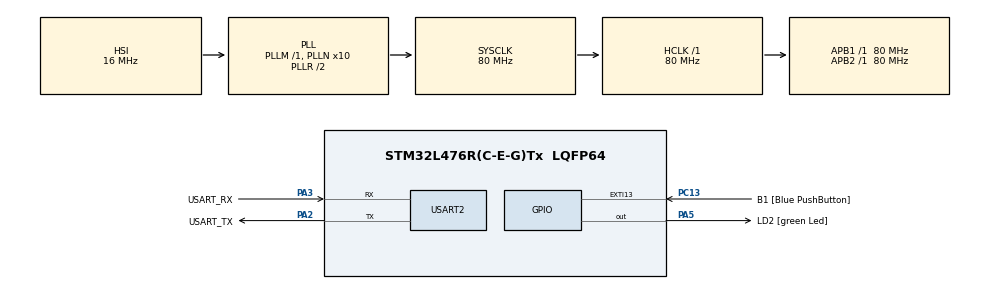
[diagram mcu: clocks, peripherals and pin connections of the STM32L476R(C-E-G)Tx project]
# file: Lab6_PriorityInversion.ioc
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FREERTOS.BinarySemaphores01=myBinarySem01,Dynamic,NULL,Available
FREERTOS.Mutexes01=myMutex01,Dynamic,NULL,Available
FREERTOS.Tasks01=defaultTask,24,128,StartDefaultTask,Default,NULL,Dynamic,NULL,NULL;lowPriorityTask,8,128,StartTask02,Default,NULL,Dynamic,NULL,NULL;medPriorityTask,24,128,StartTask03,Default,NULL,Dynamic,NULL,NULL;highPriorityTas,40,128,StartTask04,Default,NULL,Dynamic,NULL,NULL
FREERTOS.configTOTAL_HEAP_SIZE=65536
FREERTOS.configUSE_NEWLIB_REENTRANT=1
Mcu.Family=STM32L4
Mcu.Name=STM32L476R(C-E-G)Tx
Mcu.Package=LQFP64
NVIC.PriorityGroup=NVIC_PRIORITYGROUP_4
NVIC.TIM6_DAC_IRQn=true\:15\:0\:false\:false\:true\:false\:false\:true\:true
NVIC.TimeBase=TIM6_DAC_IRQn
NVIC.TimeBaseIP=TIM6
PA13\ (JTMS-SWDIO).GPIO_Label=TMS
PA13\ (JTMS-SWDIO).Mode=Serial_Wire
PA13\ (JTMS-SWDIO).Signal=SYS_JTMS-SWDIO
PA14\ (JTCK-SWCLK).GPIO_Label=TCK
PA14\ (JTCK-SWCLK).Mode=Serial_Wire
PA14\ (JTCK-SWCLK).Signal=SYS_JTCK-SWCLK
PA2.GPIO_Label=USART_TX
PA2.GPIO_Mode=GPIO_MODE_AF_PP
PA2.GPIO_PuPd=GPIO_NOPULL
PA2.GPIO_Speed=GPIO_SPEED_FREQ_VERY_HIGH
PA2.Mode=Asynchronous
PA2.Signal=USART2_TX
PA3.GPIO_Label=USART_RX
PA3.GPIO_Mode=GPIO_MODE_AF_PP
PA3.GPIO_PuPd=GPIO_NOPULL
PA3.GPIO_Speed=GPIO_SPEED_FREQ_VERY_HIGH
PA3.Mode=Asynchronous
PA3.Signal=USART2_RX
PA5.GPIO_Label=LD2 [green Led]
PA5.GPIO_ModeDefaultOutputPP=GPIO_MODE_OUTPUT_PP
PA5.GPIO_PuPd=GPIO_NOPULL
PA5.GPIO_Speed=GPIO_SPEED_FREQ_LOW
PA5.Signal=GPIO_Output
PB3\ (JTDO-TRACESWO).GPIO_Label=SWO
PB3\ (JTDO-TRACESWO).Signal=SYS_JTDO-SWO
PC13.GPIO_Label=B1 [Blue PushButton]
PC13.GPIO_ModeDefaultEXTI=GPIO_MODE_IT_FALLING
PC13.GPIO_PuPd=GPIO_NOPULL
PC13.Signal=GPXTI13
PC14-OSC32_IN\ (PC14).Mode=LSE-External-Oscillator
PC14-OSC32_IN\ (PC14).Signal=RCC_OSC32_IN
PC15-OSC32_OUT\ (PC15).Mode=LSE-External-Oscillator
PC15-OSC32_OUT\ (PC15).Signal=RCC_OSC32_OUT
PH0-OSC_IN\ (PH0).Signal=RCC_OSC_IN
PH1-OSC_OUT\ (PH1).Signal=RCC_OSC_OUT
ProjectManager.HeapSize=0x200
ProjectManager.StackSize=0x400
ProjectManager.TargetToolchain=STM32CubeIDE
RCC.ADCFreq_Value=64000000
RCC.AHBFreq_Value=80000000
RCC.APB1Freq_Value=80000000
RCC.APB1TimFreq_Value=80000000
RCC.APB2Freq_Value=80000000
RCC.APB2TimFreq_Value=80000000
RCC.CortexFreq_Value=80000000
RCC.HCLKFreq_Value=80000000
RCC.HSE_VALUE=8000000
RCC.HSI_VALUE=16000000
RCC.MSI_VALUE=4000000
RCC.PLLN=10
RCC.PLLSourceVirtual=RCC_PLLSOURCE_HSI
RCC.PREFETCH_ENABLE=1
RCC.SYSCLKFreq_VALUE=80000000
RCC.SYSCLKSource=RCC_SYSCLKSOURCE_PLLCLK
RCC.USBFreq_Value=64000000
RCC.VCOOutputFreq_Value=160000000
USART2.VirtualMode-Asynchronous=VM_ASYNC
VP_FREERTOS_VS_CMSIS_V2.Mode=CMSIS_V2
VP_SYS_VS_tim6.Mode=TIM6
board=NUCLEO-L476RG

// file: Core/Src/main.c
/* USER CODE BEGIN Header */
/**
  ******************************************************************************
  * @file           : main.c
  * @brief          : Main program body
  ******************************************************************************
  * @attention
  *
  * Copyright (c) 2026 STMicroelectronics.
  * All rights reserved.
  *
  * This software is licensed under terms that can be found in the LICENSE file
  * in the root directory of this software component.
  * If no LICENSE file comes with this software, it is provided AS-IS.
  *
  ******************************************************************************
  */
/* USER CODE END Header */
#include "main.h"
#include "cmsis_os.h"

UART_HandleTypeDef huart2;

/* Definitions for defaultTask */
osThreadId_t defaultTaskHandle;
//const osThreadAttr_t defaultTask_attributes = {
//  .name = "defaultTask",
//  .stack_size = 128 * 4,
//  .priority = (osPriority_t) osPriorityNormal,
//};
///* Definitions for lowPriorityTask */
//osThreadId_t lowPriorityTaskHandle;
//const osThreadAttr_t lowPriorityTask_attributes = {
//  .name = "lowPriorityTask",
//  .stack_size = 128 * 4,
//  .priority = (osPriority_t) osPriorityLow,
//};
///* Definitions for medPriorityTask */
//osThreadId_t medPriorityTaskHandle;
//const osThreadAttr_t medPriorityTask_attributes = {
//  .name = "medPriorityTask",
//  .stack_size = 128 * 4,
//  .priority = (osPriority_t) osPriorityNormal,
//};
///* Definitions for highPriorityTas */
//osThreadId_t highPriorityTasHandle;
//const osThreadAttr_t highPriorityTas_attributes = {
//  .name = "highPriorityTas",
//  .stack_size = 128 * 4,
//  .priority = (osPriority_t) osPriorityHigh,
//};
///* Definitions for myMutex01 */
//osMutexId_t myMutex01Handle;
//const osMutexAttr_t myMutex01_attributes = {
//  .name = "myMutex01"
//};
///* Definitions for myBinarySem01 */
//osSemaphoreId_t myBinarySem01Handle;
//const osSemaphoreAttr_t myBinarySem01_attributes = {
//  .name = "myBinarySem01"
//};

void SystemClock_Config(void);
static void MX_GPIO_Init(void);
static void MX_USART2_UART_Init(void);

/* USER CODE BEGIN PFP */
void App_RTOS_Init();
/* USER CODE END PFP */

/* USER CODE BEGIN 0 */
const char uartMsg[] = "Jeff Taylor - Lab 6\r\n CPET 461 - Priority Inversion\r\n";
/* USER CODE END 0 */

int main(void)
{

  /* MCU Configuration--------------------------------------------------------*/

  /* Reset of all peripherals, Initializes the Flash interface and the Systick. */
  HAL_Init();

  /* Configure the system clock */
  SystemClock_Config();

  /* Initialize all configured peripherals */
  MX_GPIO_Init();
  MX_USART2_UART_Init();
  /* USER CODE BEGIN 2 */
  HAL_UART_Transmit(&huart2, (uint8_t*)uartMsg, sizeof(uartMsg) - 1, HAL_MAX_DELAY); // print UART message BEFORE rtos starts
  /* USER CODE END 2 */

  /* Init scheduler */
  osKernelInitialize();
  /* Create the mutex(es) */
  /* creation of myMutex01 */
//  myMutex01Handle = osMutexNew(&myMutex01_attributes);
//
//  /* USER CODE BEGIN RTOS_MUTEX */
////  /* add mutexes, ... */
//  /* USER CODE END RTOS_MUTEX */
//
//  /* Create the semaphores(s) */
//  /* creation of myBinarySem01 */
//  myBinarySem01Handle = osSemaphoreNew(1, 1, &myBinarySem01_attributes);
//
//  /* USER CODE BEGIN RTOS_SEMAPHORES */
////  /* add semaphores, ... */
//  /* USER CODE END RTOS_SEMAPHORES */
//
//  /* USER CODE BEGIN RTOS_TIMERS */
////  /* start timers, add new ones, ... */
//  /* USER CODE END RTOS_TIMERS */
//
//  /* USER CODE BEGIN RTOS_QUEUES */
////  /* add queues, ... */
//  /* USER CODE END RTOS_QUEUES */
//
//  /* Create the thread(s) */
//  /* creation of defaultTask */
//  defaultTaskHandle = osThreadNew(StartDefaultTask, NULL, &defaultTask_attributes);
//
//  /* creation of lowPriorityTask */
//  lowPriorityTaskHandle = osThreadNew(StartTask02, NULL, &lowPriorityTask_attributes);
//
//  /* creation of medPriorityTask */
//  medPriorityTaskHandle = osThreadNew(StartTask03, NULL, &medPriorityTask_attributes);
//
//  /* creation of highPriorityTas */
//  highPriorityTasHandle = osThreadNew(StartTask04, NULL, &highPriorityTas_attributes);

  /* USER CODE BEGIN RTOS_EVENTS */
  /* add events, ... */
  App_RTOS_Init();
  /* USER CODE END RTOS_EVENTS */

  /* Start scheduler */
  osKernelStart();

  /* We should never get here as control is now taken by the scheduler */

  /* Infinite loop */
  while (1)
  {

  }
}

void SystemClock_Config(void)
{
  RCC_OscInitTypeDef RCC_OscInitStruct = {0};
  RCC_ClkInitTypeDef RCC_ClkInitStruct = {0};

  /** Configure the main internal regulator output voltage
  */
  if (HAL_PWREx_ControlVoltageScaling(PWR_REGULATOR_VOLTAGE_SCALE1) != HAL_OK)
  {
    Error_Handler();
  }

  /** Initializes the RCC Oscillators according to the specified parameters
  * in the RCC_OscInitTypeDef structure.
  */
  RCC_OscInitStruct.OscillatorType = RCC_OSCILLATORTYPE_HSI;
  RCC_OscInitStruct.HSIState = RCC_HSI_ON;
  RCC_OscInitStruct.HSICalibrationValue = RCC_HSICALIBRATION_DEFAULT;
  RCC_OscInitStruct.PLL.PLLState = RCC_PLL_ON;
  RCC_OscInitStruct.PLL.PLLSource = RCC_PLLSOURCE_HSI;
  RCC_OscInitStruct.PLL.PLLM = 1;
  RCC_OscInitStruct.PLL.PLLN = 10;
  RCC_OscInitStruct.PLL.PLLP = RCC_PLLP_DIV7;
  RCC_OscInitStruct.PLL.PLLQ = RCC_PLLQ_DIV2;
  RCC_OscInitStruct.PLL.PLLR = RCC_PLLR_DIV2;
  if (HAL_RCC_OscConfig(&RCC_OscInitStruct) != HAL_OK)
  {
    Error_Handler();
  }

  /** Initializes the CPU, AHB and APB buses clocks
  */
  RCC_ClkInitStruct.ClockType = RCC_CLOCKTYPE_HCLK|RCC_CLOCKTYPE_SYSCLK
                              |RCC_CLOCKTYPE_PCLK1|RCC_CLOCKTYPE_PCLK2;
  RCC_ClkInitStruct.SYSCLKSource = RCC_SYSCLKSOURCE_PLLCLK;
  RCC_ClkInitStruct.AHBCLKDivider = RCC_SYSCLK_DIV1;
  RCC_ClkInitStruct.APB1CLKDivider = RCC_HCLK_DIV1;
  RCC_ClkInitStruct.APB2CLKDivider = RCC_HCLK_DIV1;

  if (HAL_RCC_ClockConfig(&RCC_ClkInitStruct, FLASH_LATENCY_4) != HAL_OK)
  {
    Error_Handler();
  }
}

static void MX_USART2_UART_Init(void)
{

  huart2.Instance = USART2;
  huart2.Init.BaudRate = 115200;
  huart2.Init.WordLength = UART_WORDLENGTH_8B;
  huart2.Init.StopBits = UART_STOPBITS_1;
  huart2.Init.Parity = UART_PARITY_NONE;
  huart2.Init.Mode = UART_MODE_TX_RX;
  huart2.Init.HwFlowCtl = UART_HWCONTROL_NONE;
  huart2.Init.OverSampling = UART_OVERSAMPLING_16;
  huart2.Init.OneBitSampling = UART_ONE_BIT_SAMPLE_DISABLE;
  huart2.AdvancedInit.AdvFeatureInit = UART_ADVFEATURE_NO_INIT;
  if (HAL_UART_Init(&huart2) != HAL_OK)
  {
    Error_Handler();
  }

}

static void MX_GPIO_Init(void)
{
  GPIO_InitTypeDef GPIO_InitStruct = {0};

  /* GPIO Ports Clock Enable */
  __HAL_RCC_GPIOC_CLK_ENABLE();
  __HAL_RCC_GPIOH_CLK_ENABLE();
  __HAL_RCC_GPIOA_CLK_ENABLE();
  __HAL_RCC_GPIOB_CLK_ENABLE();

  /*Configure GPIO pin Output Level */
  HAL_GPIO_WritePin(LD2_GPIO_Port, LD2_Pin, GPIO_PIN_RESET);

  /*Configure GPIO pin : B1_Pin */
  GPIO_InitStruct.Pin = B1_Pin;
  GPIO_InitStruct.Mode = GPIO_MODE_IT_FALLING;
  GPIO_InitStruct.Pull = GPIO_NOPULL;
  HAL_GPIO_Init(B1_GPIO_Port, &GPIO_InitStruct);

  /*Configure GPIO pin : LD2_Pin */
  GPIO_InitStruct.Pin = LD2_Pin;
  GPIO_InitStruct.Mode = GPIO_MODE_OUTPUT_PP;
  GPIO_InitStruct.Pull = GPIO_NOPULL;
  GPIO_InitStruct.Speed = GPIO_SPEED_FREQ_LOW;
  HAL_GPIO_Init(LD2_GPIO_Port, &GPIO_InitStruct);

}

void HAL_TIM_PeriodElapsedCallback(TIM_HandleTypeDef *htim)
{
  if (htim->Instance == TIM6)
  {
    HAL_IncTick();
  }
}

void Error_Handler(void)
{
  __disable_irq();
  while (1)
  {
  }
}

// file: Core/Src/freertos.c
/* USER CODE BEGIN Header */
/**
  ******************************************************************************
  * File Name          : freertos.c
  * Description        : Code for freertos applications
  ******************************************************************************
  * @attention
  *
  * Copyright (c) 2026 STMicroelectronics.
  * All rights reserved.
  *
  * This software is licensed under terms that can be found in the LICENSE file
  * in the root directory of this software component.
  * If no LICENSE file comes with this software, it is provided AS-IS.
  *
  ******************************************************************************
  */
/* USER CODE END Header */

#include "FreeRTOS.h"
#include "task.h"
#include "main.h"

/* USER CODE BEGIN Includes */
#include "print.h"
#include <stdio.h>
/* USER CODE END Includes */

/* USER CODE BEGIN PD */
#define USE_MUTEX 1
#define LOW_WORK_ITERATIONS 8
#define LOW_WORK_DELAY_MS   250
#define MED_WORK_ITERATIONS 4
#define MED_WORK_DELAY_MS   500
/* USER CODE END PD */

/* USER CODE BEGIN Variables */

/* Definitions for lowPriorityTask */
osThreadId_t lowPriorityTaskHandle;
const osThreadAttr_t lowPriorityTask_attributes = {
  .name = "lowPriorityTask",
  .stack_size = 128 * 4,
  .priority = (osPriority_t) osPriorityLow,
};
/* Definitions for medPriorityTask */
osThreadId_t medPriorityTaskHandle;
const osThreadAttr_t medPriorityTask_attributes = {
  .name = "medPriorityTask",
  .stack_size = 128 * 4,
  .priority = (osPriority_t) osPriorityNormal,
};
/* Definitions for highPriorityTask */
osThreadId_t highPriorityTaskHandle;
const osThreadAttr_t highPriorityTask_attributes = {
  .name = "highPriorityTask",
  .stack_size = 128 * 4,
  .priority = (osPriority_t) osPriorityHigh,
};

// Semaphore and Mutex

#if USE_MUTEX
osMutexId_t sharedLockHandle;
const osMutexAttr_t sharedLock_attr = {
  .name = "sharedLock"
};
#else
osSemaphoreId_t sharedLockHandle;
const osSemaphoreAttr_t sharedLock_attr = {
  .name = "sharedLock"
};
#endif

/* USER CODE END Variables */

/* USER CODE BEGIN FunctionPrototypes */
void App_RTOS_Init(void);

void StartLowTask(void *argument);
void StartMedTask(void *argument);
void StartHighTask(void *argument);
/* USER CODE END FunctionPrototypes */

/* USER CODE BEGIN Application */

void App_RTOS_Init(void)
{
	Print_Init();

	// Use pre-processing if statement to avoid warnings
	#if USE_MUTEX
		Print_Line("===== LAB 6 RUNNING W/ MUTEX =====");
		sharedLockHandle = osMutexNew(&sharedLock_attr);
		Print_Line("Mutex Handle : %p", sharedLockHandle);
	#else
		Print_Line("===== LAB 6 RUNNING W/ SEMAPHORE =====");
		sharedLockHandle = osSemaphoreNew(1, 1, &sharedLock_attr);
		Print_Line("Semaphore Handle : %p", sharedLockHandle);
	#endif

    if(sharedLockHandle == NULL){
    	Print_Line("Failed to create mutex/semaphore");
    	Error_Handler();
    }

    lowPriorityTaskHandle = osThreadNew(StartLowTask, NULL, &lowPriorityTask_attributes);
    medPriorityTaskHandle = osThreadNew(StartMedTask, NULL, &medPriorityTask_attributes);
    highPriorityTaskHandle = osThreadNew(StartHighTask, NULL, &highPriorityTask_attributes);

    if(lowPriorityTaskHandle == NULL || medPriorityTaskHandle == NULL || highPriorityTaskHandle == NULL){
    	Print_Line("Failed to create tasks...");
    	Error_Handler();
    }

}
//---------------------------------------------//
// LOW PRIORITY TASK
//---------------------------------------------//
void StartLowTask(void *argument)
{
	Print_Line("LOW: starting");
	Print_Line("LOW: Acquiring shared resource");
	#if USE_MUTEX
		osMutexAcquire(sharedLockHandle, osWaitForever);
	#else
		osSemaphoreAcquire(sharedLockHandle, osWaitForever);
	#endif
	Print_Line("LOW: acquired shared resource");

  // CPU IS WORKING - SHOULD NOT GET INTERRUPTED WHEN USE_MUTEX IS 1
	for (int i = 1; i <= LOW_WORK_ITERATIONS; i++)
	{
		for(int j = 1; j <= 500000; j++) {}
	}

	Print_Line("LOW: releasing shared resource - done");
	#if USE_MUTEX
	  osMutexRelease(sharedLockHandle);
	#else
	  osSemaphoreRelease(sharedLockHandle);
	#endif

	for (;;)
	{
		// process is done
		osDelay(1000);
	}
}
//---------------------------------------------//
// HIGH PRIORITY TASK
//---------------------------------------------//
void StartHighTask(void *argument)
{
  /* Let LOW start first and take the resource */
	  osDelay(100);

	  Print_Line("HIGH: starting");

  // LOW PRIORITY TASK HAS SHARED RESOURCE AT THE TIME, SHOULD DELAY HIGH PRIORITY TASK UNTIL LOW IS DONE
	  Print_Line("HIGH: Acquiring shared resource");
	#if USE_MUTEX
		osMutexAcquire(sharedLockHandle, osWaitForever);
	#else
		osSemaphoreAcquire(sharedLockHandle, osWaitForever);
	#endif
		Print_Line("HIGH: Acquired shared resource");

	HAL_Delay(1000);

	Print_Line("HIGH: releasing shared resource - done");

	#if USE_MUTEX
	  osMutexRelease(sharedLockHandle);
	#else
	  osSemaphoreRelease(sharedLockHandle);
	#endif

  for (;;)
  {
	  // process is done
		osDelay(1000);
  }
}

//---------------------------------------------//
// MEDIUM PRIORITY TASK
//---------------------------------------------//
void StartMedTask(void *argument)
{
  // Starts after low, and after high
  osDelay(200);

  Print_Line("MED: starting");

  for (int i = 1; i <= MED_WORK_ITERATIONS; i++)
  {
    Print_Line("MED: running %d/%d", i, MED_WORK_ITERATIONS);
    HAL_Delay(MED_WORK_DELAY_MS);
  }

  Print_Line("MED: done");

  for (;;)
  {
	  // process is done
	  osDelay(1000);
  }
}

/* USER CODE END Application */
